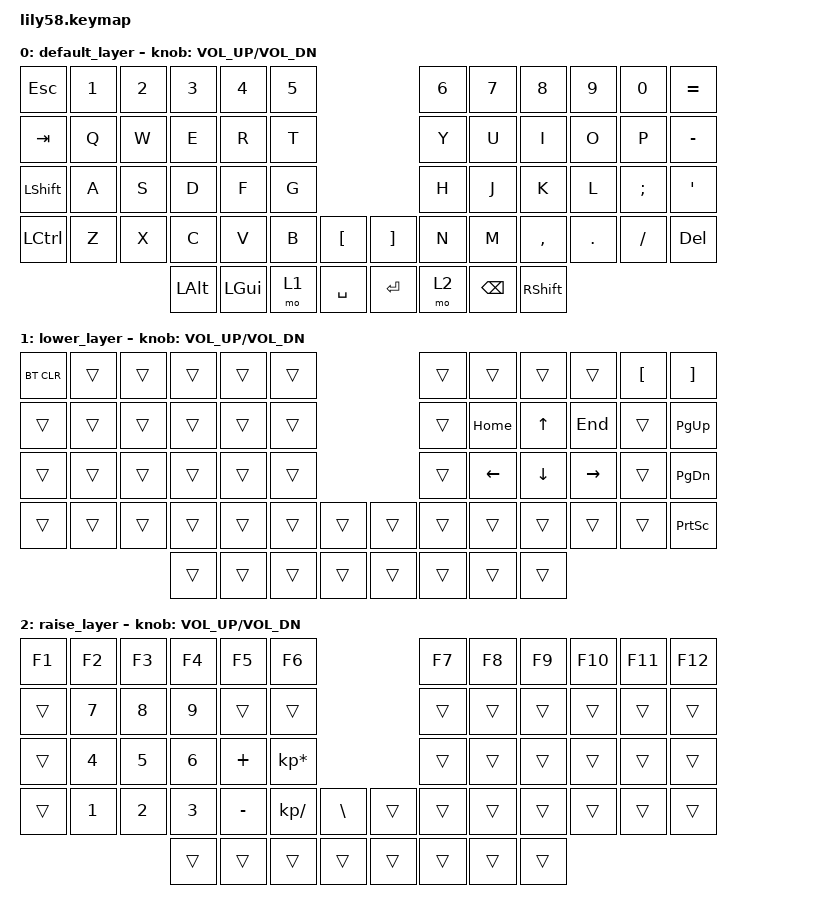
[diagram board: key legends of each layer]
/*
 * Copyright (c) 2020 The ZMK Contributors
 *
 * SPDX-License-Identifier: MIT
 */

#include <behaviors.dtsi>
#include <dt-bindings/zmk/bt.h>
#include <dt-bindings/zmk/keys.h>

/ {
    combos {
        compatible = "zmk,combos";

        combo_esc {
            timeout-ms = <50>;
            key-positions = <0 1>;
            bindings = <&kp ESC>;
        };
    };

    behaviors {
        ss_hs_modmorph: ss_hs_modmorph {
            compatible = "zmk,behavior-mod-morph";
            label = "SS_HS_MODMORPH";
            bindings = <&kp M>, <&kp RIGHT_BRACKET>;

            #binding-cells = <0>;
            mods = <(MOD_LSFT|MOD_RSFT)>;
        };

        kh_hs_tapdance: kh_hs_tapdance {
            compatible = "zmk,behavior-tap-dance";
            label = "KH_HS_TAPDANCE";
            #binding-cells = <0>;
            tapping-term-ms = <200>;
            bindings = <&kp LEFT_BRACKET>, <&kp RIGHT_BRACKET>;
        };

        hrm: hrm {
            compatible = "zmk,behavior-hold-tap";
            #binding-cells = <2>;
            flavor = "tap-preferred";
            tapping-term-ms = <200>;
            quick-tap-ms = <200>;
            require-prior-idle-ms = <125>;
            bindings = <&kp>, <&kp>;
        };
    };

    keymap {
        compatible = "zmk,keymap";

        default_layer {
            // ------------------------------------------------------------------------------------------------------------
            // |  ESC  |  1  |  2  |  3   |  4   |  5   |                   |  6   |  7    |  8    |  9   |   0   |   `   |
            // |  TAB  |  Q  |  W  |  E   |  R   |  T   |                   |  Y   |  U    |  I    |  O   |   P   |   -   |
            // |  CTRL |  A  |  S  |  D   |  F   |  G   |                   |  H   |  J    |  K    |  L   |   ;   |   '   |
            // | SHIFT |  Z  |  X  |  C   |  V   |  B   |   "["  |  |  "]"  |  N   |  M    |  ,    |  .   |   /   | SHIFT |
            //                     | ALT  | GUI  | LOWER|  SPACE |  | ENTER | RAISE| BSPC  | GUI   |

            bindings = <
&kp ESC           &kp N1  &kp N2  &kp N3    &kp N4    &kp N5                         &kp N6  &kp N7         &kp N8           &kp N9   &kp N0    &kp EQUAL
&kp TAB           &kp Q   &kp W   &kp E     &kp R     &kp T                          &kp Y   &kp U          &kp I            &kp O    &kp P     &kp MINUS
&kp LEFT_SHIFT    &kp A   &kp S   &kp D     &kp F     &kp G                          &kp H   &kp J          &kp K            &kp L    &kp SEMI  &kp SQT
&kp LEFT_CONTROL  &kp Z   &kp X   &kp C     &kp V     &kp B   &kp LBKT     &kp RBKT  &kp N   &kp M          &kp COMMA        &kp DOT  &kp FSLH  &kp DEL
                                  &kp LALT  &kp LGUI  &mo 1   &kp SPACE    &kp RET   &mo 2   &kp BACKSPACE  &kp RIGHT_SHIFT
            >;

            sensor-bindings = <&inc_dec_kp C_VOL_UP C_VOL_DN>;
        };

        lower_layer {
            // ------------------------------------------------------------------------------------------------------------
            // | BTCLR | BT1 | BT2 |  BT3 |  BT4 |  BT5 |                   |      |       |       |      |       |       |
            // |  F1   |  F2 |  F3 |  F4  |  F5  |  F6  |                   |  F7  |  F8   |  F9   |  F10 |  F11  |  F12  |
            // |   `   |  !  |  @  |  #   |  $   |  %   |                   |  ^   |  &    |  *    |  (   |   )   |   ~   |
            // |       |     |     |      |      |      |        |  |       |      |  _    |  +    |  {   |   }   |  "|"  |
            //                     |      |      |      |        |  |       |      |       |       |

            bindings = <
&bt BT_CLR  &trans  &trans  &trans  &trans  &trans                    &trans  &trans          &trans          &trans           &kp LEFT_BRACKET  &kp RIGHT_BRACKET
&trans      &trans  &trans  &trans  &trans  &trans                    &trans  &kp HOME        &kp UP_ARROW    &kp END          &trans            &kp PAGE_UP
&trans      &trans  &trans  &trans  &trans  &trans                    &trans  &kp LEFT_ARROW  &kp DOWN_ARROW  &kp RIGHT_ARROW  &trans            &kp PAGE_DOWN
&trans      &trans  &trans  &trans  &trans  &trans  &trans    &trans  &trans  &trans          &trans          &trans           &trans            &kp PRINTSCREEN
                            &trans  &trans  &trans  &trans    &trans  &trans  &trans          &trans
            >;

            sensor-bindings = <&inc_dec_kp C_VOL_UP C_VOL_DN>;
        };

        raise_layer {
            // ------------------------------------------------------------------------------------------------------------
            // |       |     |     |      |      |      |                   |      |       |       |      |       |       |
            // |   `   |  1  |  2  |  3   |  4   |  5   |                   |  6   |   7   |   8   |  9   |   0   |       |
            // |   F1  |  F2 |  F3 |  F4  |  F5  |  F6  |                   |      |   <-  |   v   |  ^   |  ->   |       |
            // |   F7  |  F8 |  F9 |  F10 |  F11 |  F12 |        |  |       |  +   |   -   |   =   |  [   |   ]   |   \   |
            //                     |      |      |      |        |  |       |      |       |       |

            bindings = <
&kp F1  &kp F2  &kp F3  &kp F4  &kp F5     &kp F6                                    &kp F7  &kp F8  &kp F9  &kp F10  &kp F11  &kp F12
&trans  &kp N7  &kp N8  &kp N9  &trans     &trans                                    &trans  &trans  &trans  &trans   &trans   &trans
&trans  &kp N4  &kp N5  &kp N6  &kp PLUS   &kp KP_MULTIPLY                           &trans  &trans  &trans  &trans   &trans   &trans
&trans  &kp N1  &kp N2  &kp N3  &kp MINUS  &kp KP_DIVIDE    &kp BACKSLASH    &trans  &trans  &trans  &trans  &trans   &trans   &trans
                        &trans  &trans     &trans           &trans           &trans  &trans  &trans  &trans
            >;

            sensor-bindings = <&inc_dec_kp C_VOL_UP C_VOL_DN>;
        };
    };
};
